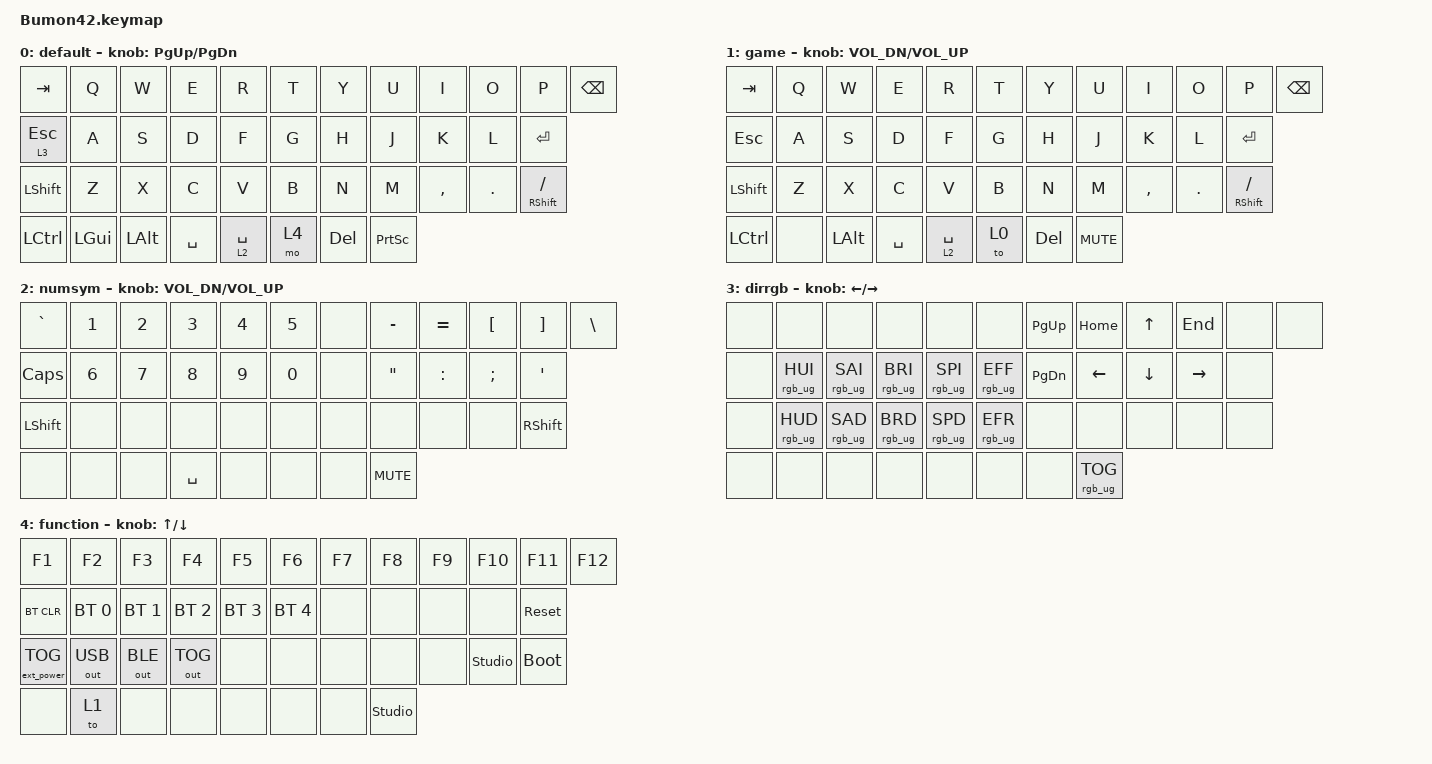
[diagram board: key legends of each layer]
#include <behaviors.dtsi>
#include <dt-bindings/zmk/bt.h>
#include <dt-bindings/zmk/ext_power.h>
#include <dt-bindings/zmk/keys.h>
#include <dt-bindings/zmk/outputs.h>
#include <dt-bindings/zmk/rgb.h>

// changed lwr and rse

#define DEF 0
#define GAM 1
#define RSE 2
#define LWR 3
#define ADJ 4
#define FN  5

/ {
    keymap {
        compatible = "zmk,keymap";

        default {
            bindings = <
&kp TAB       &kp Q     &kp W     &kp E      &kp R        &kp T  &kp Y       &kp U            &kp I      &kp O    &kp P             &kp BSPC
&lt 3 ESCAPE  &kp A     &kp S     &kp D      &kp F        &kp G  &kp H       &kp J            &kp K      &kp L    &kp ENTER
&kp LSHFT     &kp Z     &kp X     &kp C      &kp V        &kp B  &kp N       &kp M            &kp COMMA  &kp DOT  &mt RSHIFT SLASH
&kp LCTRL     &kp LGUI  &kp LALT  &kp SPACE  &lt 2 SPACE  &mo 4  &kp DELETE  &kp PRINTSCREEN
            >;

            sensor-bindings = <&inc_dec_kp PG_UP PAGE_DOWN>;
        };

        game {
            bindings = <
&kp TAB     &kp Q  &kp W     &kp E      &kp R        &kp T  &kp Y       &kp U       &kp I      &kp O    &kp P             &kp BACKSPACE
&kp ESCAPE  &kp A  &kp S     &kp D      &kp F        &kp G  &kp H       &kp J       &kp K      &kp L    &kp ENTER
&kp LSHFT   &kp Z  &kp X     &kp C      &kp V        &kp B  &kp N       &kp M       &kp COMMA  &kp DOT  &mt RSHIFT SLASH
&kp LCTRL   &none  &kp LALT  &kp SPACE  &lt 2 SPACE  &to 0  &kp DELETE  &kp C_MUTE
            >;

            sensor-bindings = <&inc_dec_kp C_VOL_DN C_VOL_UP>;
        };

        numsym {
            bindings = <
&kp GRAVE  &kp N1        &kp N2        &kp N3        &kp N4        &kp N5        &none  &kp MINUS          &kp EQUAL  &kp LEFT_BRACKET  &kp RIGHT_BRACKET  &kp BACKSLASH
&kp CAPS   &kp NUMBER_6  &kp NUMBER_7  &kp NUMBER_8  &kp NUMBER_9  &kp NUMBER_0  &none  &kp DOUBLE_QUOTES  &kp COLON  &kp SEMI          &kp SINGLE_QUOTE
&kp LSHFT  &none         &none         &none         &none         &none         &none  &none              &none      &none             &kp RSHFT
&none      &none         &none         &kp SPACE     &none         &none         &none  &kp C_MUTE
            >;

            sensor-bindings = <&inc_dec_kp C_VOL_DN C_VOL_UP>;
        };

        dirrgb {
            bindings = <
&none  &none            &none            &none            &none            &none            &kp PAGE_UP  &kp HOME         &kp UP_ARROW    &kp END          &none  &none
&none  &rgb_ug RGB_HUI  &rgb_ug RGB_SAI  &rgb_ug RGB_BRI  &rgb_ug RGB_SPI  &rgb_ug RGB_EFF  &kp PG_DN    &kp LEFT_ARROW   &kp DOWN_ARROW  &kp RIGHT_ARROW  &none
&none  &rgb_ug RGB_HUD  &rgb_ug RGB_SAD  &rgb_ug RGB_BRD  &rgb_ug RGB_SPD  &rgb_ug RGB_EFR  &none        &none            &none           &none            &none
&none  &none            &none            &none            &none            &none            &none        &rgb_ug RGB_TOG
            >;

            sensor-bindings = <&inc_dec_kp LEFT RIGHT>;
        };

        function {
            bindings = <
&kp F1             &kp F2        &kp F3        &kp F4        &kp F5        &kp F6        &kp F7  &kp F8          &kp F9  &kp F10         &kp F11      &kp F12
&bt BT_CLR         &bt BT_SEL 0  &bt BT_SEL 1  &bt BT_SEL 2  &bt BT_SEL 3  &bt BT_SEL 4  &none   &none           &none   &none           &sys_reset
&ext_power EP_TOG  &out OUT_USB  &out OUT_BLE  &out OUT_TOG  &none         &none         &none   &none           &none   &studio_unlock  &bootloader
&none              &to 1         &none         &none         &none         &none         &none   &studio_unlock
            >;

            sensor-bindings = <&inc_dec_kp UP_ARROW DOWN>;
        };
    };
};
